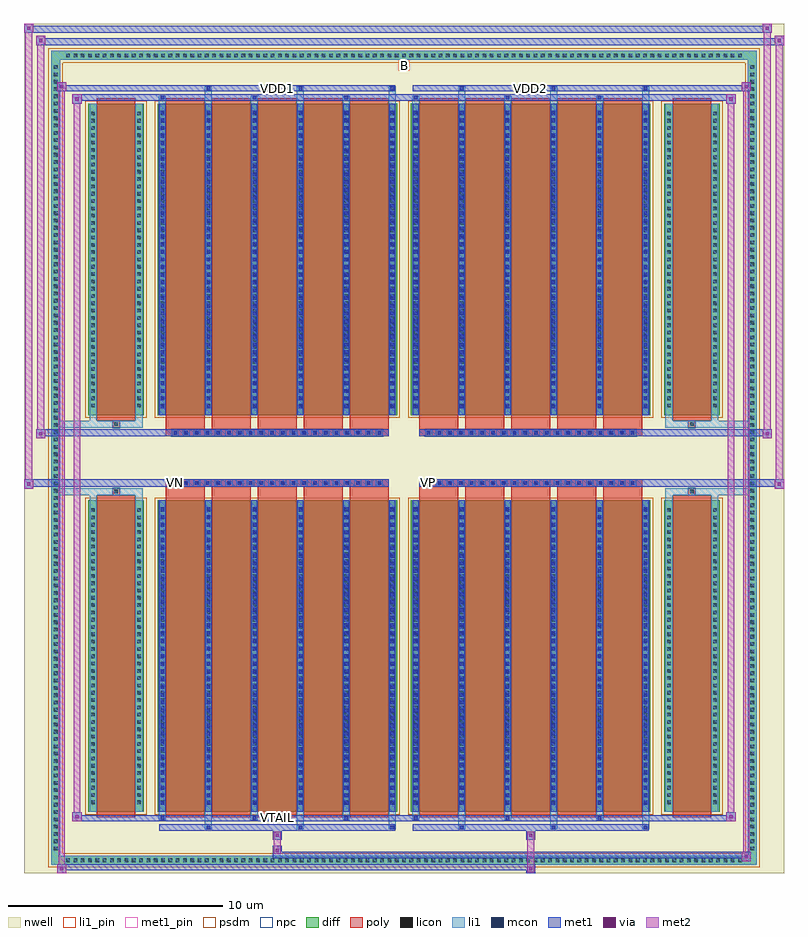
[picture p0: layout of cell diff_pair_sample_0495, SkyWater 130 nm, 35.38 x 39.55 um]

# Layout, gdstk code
import gdstk
lib = gdstk.Library(unit=1e-6, precision=5e-09)
def R(c, l, rs):  # rectangles x0, y0, x1, y1
    for r in rs: c.add(gdstk.rectangle(r[:2], r[2:], *l))
def A(c, l, x, y, w, h, nx, ny, dx, dy):  # array of equal rectangles
    R(c, l, [(x+i*dx, y+j*dy, x+i*dx+w, y+j*dy+h) for i in range(nx) for j in range(ny)])
def P(c, l, *ps):  # polygons
    for p in ps: c.add(gdstk.Polygon(p, *l))
nwell = (64, 20)
diff = (65, 20)
poly = (66, 20)
licon = (66, 44)
li1_pin = (67, 16)
li1 = (67, 20)
mcon = (67, 44)
met1_pin = (68, 16)
met1 = (68, 20)
via = (68, 44)
met2 = (69, 20)
psdm = (94, 20)
npc = (95, 20)

diff_pair_sample_0495 = lib.new_cell('diff_pair_sample_0495')
R(diff_pair_sample_0495, nwell, [(-17.69,-19.34,17.69,20.21), (-15.01,-17.53,-0.01,-0.805), (0.01,-17.53,15.01,-0.805), (-15.01,0.805,-0.01,17.53), (0.01,0.805,15.01,17.53)])
A(diff_pair_sample_0495, diff, -15.845, -18.94, 0.41, 0.41, 93, 2, 0.34, 37.47)
A(diff_pair_sample_0495, diff, -16.42, -18.395, 0.41, 0.41, 1, 108, 0, 0.34)
A(diff_pair_sample_0495, diff, 16.01, -18.395, 0.41, 0.41, 1, 108, 0, 0.34)
R(diff_pair_sample_0495, diff, [(-15.845,-18.94,15.845,-18.53), (-16.42,-18.395,-16.01,18.395), (16.01,-18.395,16.42,18.395), (-14.7,-16.485,-12.11,-1.985), (-11.47,-16.485,-0.32,-1.985), (0.32,-16.485,11.47,-1.985), (12.11,-16.485,14.7,-1.985), (-14.7,1.985,-12.11,16.485), (-11.47,1.985,-0.32,16.485), (0.32,1.985,11.47,16.485), (12.11,1.985,14.7,16.485), (-15.845,18.53,15.845,18.94)])
P(diff_pair_sample_0495, diff, [(16.42,18.94),(-16.42,18.94),(-16.42,-18.53),(-16.01,-18.53),(-16.01,18.53),(16.01,18.53),(16.01,-18.53),(-16.01,-18.53),(-16.42,-18.53),(-16.42,-18.94),(16.42,-18.94)])
A(diff_pair_sample_0495, poly, -11.08, -16.735, 1.81, 15, 5, 2, 2.14, 18.47)
A(diff_pair_sample_0495, poly, 0.71, -16.735, 1.81, 15, 5, 2, 2.14, 18.47)
A(diff_pair_sample_0495, poly, -11.08, -1.735, 1.81, 0.4, 5, 2, 2.14, 3.07)
A(diff_pair_sample_0495, poly, 0.71, -1.735, 1.81, 0.4, 5, 2, 2.14, 3.07)
A(diff_pair_sample_0495, poly, -10.81, -1.335, 0.33, 0.33, 20, 2, 0.5, 2.34)
A(diff_pair_sample_0495, poly, 0.98, -1.335, 0.33, 0.33, 20, 2, 0.5, 2.34)
R(diff_pair_sample_0495, poly, [(-14.31,-16.735,-12.5,-1.735), (12.5,-16.735,14.31,-1.735), (-13.57,-1.735,-13.24,-1.405), (-13.57,-1.735,-13.24,-1.405), (13.24,-1.735,13.57,-1.405), (13.24,-1.735,13.57,-1.405), (-11.08,-1.335,-0.71,-1.005), (0.71,-1.335,11.08,-1.005), (-11.08,1.005,-0.71,1.335), (0.71,1.005,11.08,1.335), (-13.57,1.405,-13.24,1.735), (-13.57,1.405,-13.24,1.735), (13.24,1.405,13.57,1.735), (13.24,1.405,13.57,1.735), (-14.31,1.735,-12.5,16.735), (12.5,1.735,14.31,16.735)])
A(diff_pair_sample_0495, licon, -15.725, -18.82, 0.17, 0.17, 93, 2, 0.34, 37.47)
A(diff_pair_sample_0495, licon, -16.3, -18.275, 0.17, 0.17, 1, 108, 0, 0.34)
A(diff_pair_sample_0495, licon, 16.13, -18.275, 0.17, 0.17, 1, 108, 0, 0.34)
A(diff_pair_sample_0495, licon, -14.56, -16.12, 0.17, 0.17, 1, 41, 0, 0.34)
A(diff_pair_sample_0495, licon, -12.42, -16.12, 0.17, 0.17, 1, 41, 0, 0.34)
A(diff_pair_sample_0495, licon, -11.33, -16.12, 0.17, 0.17, 6, 41, 2.14, 0.34)
A(diff_pair_sample_0495, licon, 0.46, -16.12, 0.17, 0.17, 6, 41, 2.14, 0.34)
A(diff_pair_sample_0495, licon, 12.25, -16.12, 0.17, 0.17, 1, 41, 0, 0.34)
A(diff_pair_sample_0495, licon, 14.39, -16.12, 0.17, 0.17, 1, 41, 0, 0.34)
A(diff_pair_sample_0495, licon, -10.73, -1.255, 0.17, 0.17, 20, 2, 0.5, 2.34)
A(diff_pair_sample_0495, licon, 1.06, -1.255, 0.17, 0.17, 20, 2, 0.5, 2.34)
A(diff_pair_sample_0495, licon, -14.56, 2.35, 0.17, 0.17, 1, 41, 0, 0.34)
A(diff_pair_sample_0495, licon, -12.42, 2.35, 0.17, 0.17, 1, 41, 0, 0.34)
A(diff_pair_sample_0495, licon, -11.33, 2.35, 0.17, 0.17, 6, 41, 2.14, 0.34)
A(diff_pair_sample_0495, licon, 0.46, 2.35, 0.17, 0.17, 6, 41, 2.14, 0.34)
A(diff_pair_sample_0495, licon, 12.25, 2.35, 0.17, 0.17, 1, 41, 0, 0.34)
A(diff_pair_sample_0495, licon, 14.39, 2.35, 0.17, 0.17, 1, 41, 0, 0.34)
R(diff_pair_sample_0495, licon, [(-13.49,-1.655,-13.32,-1.485), (13.32,-1.655,13.49,-1.485), (-13.49,1.485,-13.32,1.655), (13.32,1.485,13.49,1.655)])
R(diff_pair_sample_0495, li1_pin, [(-0.25,18.03,0.25,18.53)])
A(diff_pair_sample_0495, li1, -15.805, -18.9, 0.33, 0.33, 93, 2, 0.34, 37.47)
A(diff_pair_sample_0495, li1, -16.38, -18.355, 0.33, 0.33, 1, 108, 0, 0.34)
A(diff_pair_sample_0495, li1, 16.05, -18.355, 0.33, 0.33, 1, 108, 0, 0.34)
A(diff_pair_sample_0495, li1, -9.27, -17.29, 0.33, 0.805, 3, 2, 4.28, 33.775)
A(diff_pair_sample_0495, li1, -9.19, -17.29, 0.17, 0.17, 3, 2, 4.28, 34.41)
A(diff_pair_sample_0495, li1, 2.52, -17.29, 0.33, 0.805, 3, 2, 4.28, 33.775)
A(diff_pair_sample_0495, li1, 2.6, -17.29, 0.17, 0.17, 3, 2, 4.28, 34.41)
A(diff_pair_sample_0495, li1, -11.41, -16.86, 0.33, 0.375, 3, 2, 4.28, 33.345)
A(diff_pair_sample_0495, li1, -11.33, -16.86, 0.17, 0.17, 3, 2, 4.28, 33.55)
A(diff_pair_sample_0495, li1, 0.38, -16.86, 0.33, 0.375, 3, 2, 4.28, 33.345)
A(diff_pair_sample_0495, li1, 0.46, -16.86, 0.17, 0.17, 3, 2, 4.28, 33.55)
A(diff_pair_sample_0495, li1, -11.41, -16.485, 0.33, 14.5, 6, 2, 2.14, 18.47)
A(diff_pair_sample_0495, li1, 0.38, -16.485, 0.33, 14.5, 6, 2, 2.14, 18.47)
A(diff_pair_sample_0495, li1, -14.64, -16.2, 0.33, 0.33, 1, 41, 0, 0.34)
A(diff_pair_sample_0495, li1, -12.5, -16.2, 0.33, 0.33, 1, 41, 0, 0.34)
A(diff_pair_sample_0495, li1, -11.41, -16.2, 0.33, 0.33, 6, 41, 2.14, 0.34)
A(diff_pair_sample_0495, li1, 0.38, -16.2, 0.33, 0.33, 6, 41, 2.14, 0.34)
A(diff_pair_sample_0495, li1, 12.17, -16.2, 0.33, 0.33, 1, 41, 0, 0.34)
A(diff_pair_sample_0495, li1, 14.31, -16.2, 0.33, 0.33, 1, 41, 0, 0.34)
A(diff_pair_sample_0495, li1, -11.33, -16.16, 0.17, 0.17, 6, 39, 2.14, 0.36)
A(diff_pair_sample_0495, li1, -11.33, -16.16, 0.17, 13.85, 6, 2, 2.14, 18.47)
A(diff_pair_sample_0495, li1, 0.46, -16.16, 0.17, 0.17, 6, 39, 2.14, 0.36)
A(diff_pair_sample_0495, li1, 0.46, -16.16, 0.17, 13.85, 6, 2, 2.14, 18.47)
A(diff_pair_sample_0495, li1, -10.81, -1.335, 0.33, 0.33, 20, 2, 0.5, 2.34)
A(diff_pair_sample_0495, li1, 0.98, -1.335, 0.33, 0.33, 20, 2, 0.5, 2.34)
A(diff_pair_sample_0495, li1, -14.64, 2.27, 0.33, 0.33, 1, 41, 0, 0.34)
A(diff_pair_sample_0495, li1, -12.5, 2.27, 0.33, 0.33, 1, 41, 0, 0.34)
A(diff_pair_sample_0495, li1, -11.41, 2.27, 0.33, 0.33, 6, 41, 2.14, 0.34)
A(diff_pair_sample_0495, li1, 0.38, 2.27, 0.33, 0.33, 6, 41, 2.14, 0.34)
A(diff_pair_sample_0495, li1, 12.17, 2.27, 0.33, 0.33, 1, 41, 0, 0.34)
A(diff_pair_sample_0495, li1, 14.31, 2.27, 0.33, 0.33, 1, 41, 0, 0.34)
A(diff_pair_sample_0495, li1, -11.33, 2.31, 0.17, 0.17, 6, 39, 2.14, 0.36)
A(diff_pair_sample_0495, li1, 0.46, 2.31, 0.17, 0.17, 6, 39, 2.14, 0.36)
R(diff_pair_sample_0495, li1, [(-16.42,-18.94,-16.01,-18.53), (-16.42,-18.94,-16.01,-18.53), (-16.01,-18.94,16.01,-18.53), (16.01,-18.94,16.42,-18.53), (16.01,-18.94,16.42,-18.53), (-16.42,-18.53,-16.01,18.53), (16.01,-18.53,16.42,18.53), (-14.64,-16.485,-14.31,-1.985), (-12.5,-16.485,-12.17,-1.985), (12.17,-16.485,12.5,-1.985), (14.31,-16.485,14.64,-1.985), (-14.64,-1.985,-14.31,-1.405), (-12.5,-1.985,-12.17,-1.405), (12.17,-1.985,12.5,-1.405), (14.31,-1.985,14.64,-1.405), (-16.42,-1.735,-13.57,-1.405), (-14.64,-1.735,-13.57,-1.405), (-13.57,-1.735,-13.24,-1.405), (-13.24,-1.735,-12.17,-1.405), (12.17,-1.735,13.24,-1.405), (13.24,-1.735,13.57,-1.405), (13.24,-1.735,16.42,-1.405), (13.57,-1.735,14.64,-1.405), (-16.42,1.405,-13.57,1.735), (-14.64,1.405,-13.57,1.735), (-14.64,1.405,-14.31,1.985), (-13.57,1.405,-13.24,1.735), (-13.24,1.405,-12.17,1.735), (-12.5,1.405,-12.17,1.985), (12.17,1.405,13.24,1.735), (12.17,1.405,12.5,1.985), (13.24,1.405,13.57,1.735), (13.24,1.405,16.42,1.735), (13.57,1.405,14.64,1.735), (14.31,1.405,14.64,1.985), (-14.64,1.985,-14.31,16.485), (-12.5,1.985,-12.17,16.485), (12.17,1.985,12.5,16.485), (14.31,1.985,14.64,16.485), (-16.42,18.53,-16.01,18.94), (-16.42,18.53,-16.01,18.94), (-16.01,18.53,16.01,18.94), (16.01,18.53,16.42,18.94), (16.01,18.53,16.42,18.94)])
A(diff_pair_sample_0495, mcon, -9.19, -17.29, 0.17, 0.17, 3, 2, 4.28, 34.41)
A(diff_pair_sample_0495, mcon, 2.6, -17.29, 0.17, 0.17, 3, 2, 4.28, 34.41)
A(diff_pair_sample_0495, mcon, -11.33, -16.86, 0.17, 0.17, 3, 2, 4.28, 33.55)
A(diff_pair_sample_0495, mcon, 0.46, -16.86, 0.17, 0.17, 3, 2, 4.28, 33.55)
A(diff_pair_sample_0495, mcon, -11.33, -16.16, 0.17, 0.17, 6, 39, 2.14, 0.36)
A(diff_pair_sample_0495, mcon, 0.46, -16.16, 0.17, 0.17, 6, 39, 2.14, 0.36)
A(diff_pair_sample_0495, mcon, -10.73, -1.255, 0.17, 0.17, 20, 2, 0.5, 2.34)
A(diff_pair_sample_0495, mcon, 1.06, -1.255, 0.17, 0.17, 20, 2, 0.5, 2.34)
A(diff_pair_sample_0495, mcon, -11.33, 2.31, 0.17, 0.17, 6, 39, 2.14, 0.36)
A(diff_pair_sample_0495, mcon, 0.46, 2.31, 0.17, 0.17, 6, 39, 2.14, 0.36)
R(diff_pair_sample_0495, met1_pin, [(-6.03,-16.9,-5.76,-16.63), (-10.78,-1.295,-10.51,-1.025), (1.01,-1.295,1.28,-1.025), (-6.03,17.08,-5.76,17.35), (5.76,17.08,6.03,17.35)])
A(diff_pair_sample_0495, met1, -9.25, -17.35, 0.29, 0.29, 3, 2, 4.28, 34.41)
A(diff_pair_sample_0495, met1, 2.54, -17.35, 0.29, 0.29, 3, 2, 4.28, 34.41)
A(diff_pair_sample_0495, met1, -11.39, -16.92, 0.29, 0.29, 3, 2, 4.28, 33.55)
A(diff_pair_sample_0495, met1, 0.4, -16.92, 0.29, 0.29, 3, 2, 4.28, 33.55)
A(diff_pair_sample_0495, met1, -11.39, -16.485, 0.29, 14.5, 6, 2, 2.14, 18.47)
A(diff_pair_sample_0495, met1, 0.4, -16.485, 0.29, 14.5, 6, 2, 2.14, 18.47)
A(diff_pair_sample_0495, met1, -11.39, -16.22, 0.29, 0.29, 6, 39, 2.14, 0.36)
A(diff_pair_sample_0495, met1, 0.4, -16.22, 0.29, 0.29, 6, 39, 2.14, 0.36)
A(diff_pair_sample_0495, met1, -10.79, -1.315, 0.29, 0.29, 20, 2, 0.5, 2.34)
A(diff_pair_sample_0495, met1, 1, -1.315, 0.29, 0.29, 20, 2, 0.5, 2.34)
A(diff_pair_sample_0495, met1, -11.39, 2.25, 0.29, 0.29, 6, 39, 2.14, 0.36)
A(diff_pair_sample_0495, met1, 0.4, 2.25, 0.29, 0.29, 6, 39, 2.14, 0.36)
R(diff_pair_sample_0495, met1, [(-16.15,-19.34,-15.72,-18.91), (5.68,-19.34,6.11,-18.91), (-16.15,-19.2,6.11,-18.91), (15.72,-18.77,16.15,-18.34), (-6.11,-18.63,16.15,-18.34), (-6.11,-18.49,-5.68,-18.06), (-6.11,-17.78,-5.68,-17.35), (5.68,-17.78,6.11,-17.35), (-11.39,-17.35,-0.4,-17.06), (0.4,-17.35,11.39,-17.06), (-15.44,-16.92,-15.01,-16.49), (-15.44,-16.92,-11.39,-16.63), (-11.39,-16.92,-0.4,-16.63), (-0.4,-16.92,0.4,-16.63), (0.4,-16.92,11.39,-16.63), (11.39,-16.92,15.44,-16.63), (15.01,-16.92,15.44,-16.49), (-17.69,-1.435,-17.26,-1.005), (17.26,-1.435,17.69,-1.005), (-17.69,-1.335,-0.71,-1.005), (-11.08,-1.335,-0.71,-1.005), (0.71,-1.335,11.08,-1.005), (0.71,-1.335,17.69,-1.005), (-17.12,0.905,-16.69,1.335), (16.69,0.905,17.12,1.335), (-17.12,1.005,-11.08,1.335), (-11.08,1.005,-0.71,1.335), (0.71,1.005,11.08,1.335), (11.08,1.005,17.12,1.335), (-15.44,16.49,-15.01,16.92), (15.01,16.49,15.44,16.92), (-15.44,16.63,-11.39,16.92), (-11.39,16.63,-0.4,16.92), (-0.4,16.63,0.4,16.92), (0.4,16.63,11.39,16.92), (11.39,16.63,15.44,16.92), (-16.15,17.06,-15.72,17.49), (-16.15,17.06,-11.39,17.35), (-11.39,17.06,-0.4,17.35), (0.4,17.06,11.39,17.35), (11.39,17.06,16.15,17.35), (15.72,17.06,16.15,17.49), (-17.12,19.21,-16.69,19.64), (-17.12,19.21,-15.01,19.54), (-15.01,19.21,15.01,19.54), (15.01,19.21,17.69,19.54), (17.26,19.21,17.69,19.64), (-17.69,19.78,-17.26,20.21), (-17.69,19.78,-15.01,20.11), (-15.01,19.78,15.01,20.11), (15.01,19.78,17.12,20.11), (16.69,19.78,17.12,20.21)])
R(diff_pair_sample_0495, via, [(-16.01,-19.2,-15.86,-19.05), (5.82,-19.2,5.97,-19.05), (15.86,-18.63,16.01,-18.48), (-5.97,-18.35,-5.82,-18.2), (-5.97,-17.64,-5.82,-17.49), (5.82,-17.64,5.97,-17.49), (-15.3,-16.78,-15.15,-16.63), (15.15,-16.78,15.3,-16.63), (-17.55,-1.295,-17.4,-1.145), (17.4,-1.295,17.55,-1.145), (-16.98,1.045,-16.83,1.195), (16.83,1.045,16.98,1.195), (-15.3,16.63,-15.15,16.78), (15.15,16.63,15.3,16.78), (-16.01,17.2,-15.86,17.35), (15.86,17.2,16.01,17.35), (-16.98,19.35,-16.83,19.5), (17.4,19.35,17.55,19.5), (-17.55,19.92,-17.4,20.07), (16.83,19.92,16.98,20.07)])
R(diff_pair_sample_0495, met2, [(-16.15,-19.34,-15.72,-18.91), (-16.08,-19.34,-15.79,17.49), (-15.79,-19.34,-15.72,-18.91), (-16.1,-19.29,-15.77,-18.96), (5.73,-19.29,6.06,-18.96), (5.73,-18.96,6.06,-17.73), (15.72,-18.77,16.15,-18.34), (15.79,-18.77,16.08,17.49), (16.08,-18.77,16.15,-18.34), (15.77,-18.72,16.1,-18.39), (-6.06,-18.44,-5.73,-18.11), (-6.06,-18.11,-5.73,-17.73), (-6.06,-17.73,-5.73,-17.4), (5.73,-17.73,6.06,-17.4), (-15.44,-16.92,-15.01,-16.49), (-15.37,-16.92,-15.08,16.92), (-15.08,-16.92,-15.01,-16.49), (15.01,-16.92,15.44,-16.49), (15.08,-16.92,15.37,16.92), (15.37,-16.92,15.44,-16.49), (-15.39,-16.87,-15.06,-16.54), (15.06,-16.87,15.39,-16.54), (-17.69,-1.435,-17.26,-1.005), (-17.64,-1.435,-17.31,20.21), (-17.31,-1.435,-17.26,-1.005), (17.26,-1.435,17.69,-1.005), (17.31,-1.435,17.64,19.64), (17.64,-1.435,17.69,-1.005), (-17.64,-1.385,-17.31,-1.055), (17.31,-1.385,17.64,-1.055), (-17.12,0.905,-16.69,1.335), (-17.07,0.905,-16.74,19.64), (-16.74,0.905,-16.69,1.335), (16.69,0.905,17.12,1.335), (16.74,0.905,17.07,20.21), (17.07,0.905,17.12,1.335), (-17.07,0.955,-16.74,1.285), (16.74,0.955,17.07,1.285), (-15.44,16.49,-15.01,16.92), (-15.08,16.49,-15.01,16.92), (15.01,16.49,15.44,16.92), (15.37,16.49,15.44,16.92), (-15.39,16.54,-15.06,16.87), (15.06,16.54,15.39,16.87), (-16.15,17.06,-15.72,17.49), (-15.79,17.06,-15.72,17.49), (15.72,17.06,16.15,17.49), (16.08,17.06,16.15,17.49), (-16.1,17.11,-15.77,17.44), (15.77,17.11,16.1,17.44), (-17.12,19.21,-16.69,19.64), (-16.74,19.21,-16.69,19.64), (17.26,19.21,17.69,19.64), (17.64,19.21,17.69,19.64), (-17.07,19.26,-16.74,19.59), (17.31,19.26,17.64,19.59), (-17.69,19.78,-17.26,20.21), (-17.31,19.78,-17.26,20.21), (16.69,19.78,17.12,20.21), (17.07,19.78,17.12,20.21), (-17.64,19.83,-17.31,20.16), (16.74,19.83,17.07,20.16)])
R(diff_pair_sample_0495, psdm, [(-14.83,-16.615,-11.98,-1.855), (-11.6,-16.615,-0.19,-1.855), (0.19,-16.615,11.6,-1.855), (11.98,-16.615,14.83,-1.855), (-14.83,1.855,-11.98,16.615), (-11.6,1.855,-0.19,16.615), (0.19,1.855,11.6,16.615), (11.98,1.855,14.83,16.615)])
P(diff_pair_sample_0495, psdm, [(16.55,19.07),(-16.55,19.07),(-16.55,-18.4),(-15.88,-18.4),(-15.88,18.4),(15.88,18.4),(15.88,-18.4),(-15.88,-18.4),(-16.55,-18.4),(-16.55,-19.07),(16.55,-19.07)])
A(diff_pair_sample_0495, npc, -10.83, -1.355, 0.37, 0.37, 20, 2, 0.5, 2.34)
A(diff_pair_sample_0495, npc, 0.96, -1.355, 0.37, 0.37, 20, 2, 0.5, 2.34)
R(diff_pair_sample_0495, npc, [(-13.59,-1.755,-13.22,-1.385), (13.22,-1.755,13.59,-1.385), (-10.83,-1.355,-9.96,-0.985), (-10.83,-1.355,-9.96,-0.985), (-10.33,-1.355,-9.46,-0.985), (-10.33,-1.355,-9.46,-0.985), (-9.83,-1.355,-8.96,-0.985), (-9.83,-1.355,-8.96,-0.985), (-9.33,-1.355,-8.46,-0.985), (-9.33,-1.355,-8.46,-0.985), (-8.83,-1.355,-7.96,-0.985), (-8.83,-1.355,-7.96,-0.985), (-8.33,-1.355,-7.46,-0.985), (-8.33,-1.355,-7.46,-0.985), (-7.83,-1.355,-6.96,-0.985), (-7.83,-1.355,-6.96,-0.985), (-7.33,-1.355,-6.46,-0.985), (-7.33,-1.355,-6.46,-0.985), (-6.83,-1.355,-5.96,-0.985), (-6.83,-1.355,-5.96,-0.985), (-6.33,-1.355,-5.46,-0.985), (-6.33,-1.355,-5.46,-0.985), (-5.83,-1.355,-4.96,-0.985), (-5.83,-1.355,-4.96,-0.985), (-5.33,-1.355,-4.46,-0.985), (-5.33,-1.355,-4.46,-0.985), (-4.83,-1.355,-3.96,-0.985), (-4.83,-1.355,-3.96,-0.985), (-4.33,-1.355,-3.46,-0.985), (-4.33,-1.355,-3.46,-0.985), (-3.83,-1.355,-2.96,-0.985), (-3.83,-1.355,-2.96,-0.985), (-3.33,-1.355,-2.46,-0.985), (-3.33,-1.355,-2.46,-0.985), (-2.83,-1.355,-1.96,-0.985), (-2.83,-1.355,-1.96,-0.985), (-2.33,-1.355,-1.46,-0.985), (-2.33,-1.355,-1.46,-0.985), (-1.83,-1.355,-0.96,-0.985), (-1.83,-1.355,-0.96,-0.985), (0.96,-1.355,1.83,-0.985), (0.96,-1.355,1.83,-0.985), (1.46,-1.355,2.33,-0.985), (1.46,-1.355,2.33,-0.985), (1.96,-1.355,2.83,-0.985), (1.96,-1.355,2.83,-0.985), (2.46,-1.355,3.33,-0.985), (2.46,-1.355,3.33,-0.985), (2.96,-1.355,3.83,-0.985), (2.96,-1.355,3.83,-0.985), (3.46,-1.355,4.33,-0.985), (3.46,-1.355,4.33,-0.985), (3.96,-1.355,4.83,-0.985), (3.96,-1.355,4.83,-0.985), (4.46,-1.355,5.33,-0.985), (4.46,-1.355,5.33,-0.985), (4.96,-1.355,5.83,-0.985), (4.96,-1.355,5.83,-0.985), (5.46,-1.355,6.33,-0.985), (5.46,-1.355,6.33,-0.985), (5.96,-1.355,6.83,-0.985), (5.96,-1.355,6.83,-0.985), (6.46,-1.355,7.33,-0.985), (6.46,-1.355,7.33,-0.985), (6.96,-1.355,7.83,-0.985), (6.96,-1.355,7.83,-0.985), (7.46,-1.355,8.33,-0.985), (7.46,-1.355,8.33,-0.985), (7.96,-1.355,8.83,-0.985), (7.96,-1.355,8.83,-0.985), (8.46,-1.355,9.33,-0.985), (8.46,-1.355,9.33,-0.985), (8.96,-1.355,9.83,-0.985), (8.96,-1.355,9.83,-0.985), (9.46,-1.355,10.33,-0.985), (9.46,-1.355,10.33,-0.985), (9.96,-1.355,10.83,-0.985), (9.96,-1.355,10.83,-0.985), (-10.83,0.985,-9.96,1.355), (-10.83,0.985,-9.96,1.355), (-10.33,0.985,-9.46,1.355), (-10.33,0.985,-9.46,1.355), (-9.83,0.985,-8.96,1.355), (-9.83,0.985,-8.96,1.355), (-9.33,0.985,-8.46,1.355), (-9.33,0.985,-8.46,1.355), (-8.83,0.985,-7.96,1.355), (-8.83,0.985,-7.96,1.355), (-8.33,0.985,-7.46,1.355), (-8.33,0.985,-7.46,1.355), (-7.83,0.985,-6.96,1.355), (-7.83,0.985,-6.96,1.355), (-7.33,0.985,-6.46,1.355), (-7.33,0.985,-6.46,1.355), (-6.83,0.985,-5.96,1.355), (-6.83,0.985,-5.96,1.355), (-6.33,0.985,-5.46,1.355), (-6.33,0.985,-5.46,1.355), (-5.83,0.985,-4.96,1.355), (-5.83,0.985,-4.96,1.355), (-5.33,0.985,-4.46,1.355), (-5.33,0.985,-4.46,1.355), (-4.83,0.985,-3.96,1.355), (-4.83,0.985,-3.96,1.355), (-4.33,0.985,-3.46,1.355), (-4.33,0.985,-3.46,1.355), (-3.83,0.985,-2.96,1.355), (-3.83,0.985,-2.96,1.355), (-3.33,0.985,-2.46,1.355), (-3.33,0.985,-2.46,1.355), (-2.83,0.985,-1.96,1.355), (-2.83,0.985,-1.96,1.355), (-2.33,0.985,-1.46,1.355), (-2.33,0.985,-1.46,1.355), (-1.83,0.985,-0.96,1.355), (-1.83,0.985,-0.96,1.355), (0.96,0.985,1.83,1.355), (0.96,0.985,1.83,1.355), (1.46,0.985,2.33,1.355), (1.46,0.985,2.33,1.355), (1.96,0.985,2.83,1.355), (1.96,0.985,2.83,1.355), (2.46,0.985,3.33,1.355), (2.46,0.985,3.33,1.355), (2.96,0.985,3.83,1.355), (2.96,0.985,3.83,1.355), (3.46,0.985,4.33,1.355), (3.46,0.985,4.33,1.355), (3.96,0.985,4.83,1.355), (3.96,0.985,4.83,1.355), (4.46,0.985,5.33,1.355), (4.46,0.985,5.33,1.355), (4.96,0.985,5.83,1.355), (4.96,0.985,5.83,1.355), (5.46,0.985,6.33,1.355), (5.46,0.985,6.33,1.355), (5.96,0.985,6.83,1.355), (5.96,0.985,6.83,1.355), (6.46,0.985,7.33,1.355), (6.46,0.985,7.33,1.355), (6.96,0.985,7.83,1.355), (6.96,0.985,7.83,1.355), (7.46,0.985,8.33,1.355), (7.46,0.985,8.33,1.355), (7.96,0.985,8.83,1.355), (7.96,0.985,8.83,1.355), (8.46,0.985,9.33,1.355), (8.46,0.985,9.33,1.355), (8.96,0.985,9.83,1.355), (8.96,0.985,9.83,1.355), (9.46,0.985,10.33,1.355), (9.46,0.985,10.33,1.355), (9.96,0.985,10.83,1.355), (9.96,0.985,10.83,1.355), (-13.59,1.385,-13.22,1.755), (13.22,1.385,13.59,1.755)])
diff_pair_sample_0495.add(gdstk.Label('VTAIL', (-5.895,-16.765), layer=68, texttype=5))
diff_pair_sample_0495.add(gdstk.Label('VN', (-10.645,-1.16), layer=68, texttype=5))
diff_pair_sample_0495.add(gdstk.Label('VP', (1.145,-1.16), layer=68, texttype=5))
diff_pair_sample_0495.add(gdstk.Label('B', (0,18.28), layer=67, texttype=5))
diff_pair_sample_0495.add(gdstk.Label('VDD2', (5.895,17.215), layer=68, texttype=5))
diff_pair_sample_0495.add(gdstk.Label('VDD1', (-5.895,17.215), layer=68, texttype=5))

lib.write_gds('diff_pair_sample_0495.gds')
